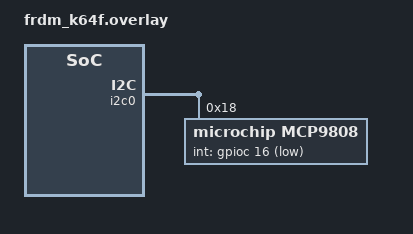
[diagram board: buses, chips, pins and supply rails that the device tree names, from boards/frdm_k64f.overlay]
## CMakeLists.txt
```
# SPDX-License-Identifier: Apache-2.0

cmake_minimum_required(VERSION 3.13.1)
find_package(Zephyr REQUIRED HINTS $ENV{ZEPHYR_BASE})
project(mcp9808)

FILE(GLOB app_sources src/*.c)
target_sources(app PRIVATE ${app_sources})
```

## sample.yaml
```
sample:
  name: MCP9808 Temperature Sensor
tests:
  sample.sensor.mcp9808:
    harness: sensor
    tags: sensors
    depends_on: i2c
    filter: dt_compat_enabled("microchip,mcp9808")
    platform_allow: nucleo_l053r8
    integration_platforms:
      - nucleo_l053r8
```

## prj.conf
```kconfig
CONFIG_STDOUT_CONSOLE=y
CONFIG_I2C=y
CONFIG_GPIO=y
CONFIG_SENSOR=y
CONFIG_MCP9808=y
#CONFIG_MCP9808_TRIGGER_NONE=y
CONFIG_MCP9808_TRIGGER_OWN_THREAD=y
#CONFIG_MCP9808_TRIGGER_GLOBAL_THREAD=y
CONFIG_CBPRINTF_FP_SUPPORT=y
```

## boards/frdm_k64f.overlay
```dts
/*
 * Copyright (c) 2019, Linaro Ltd.
 *
 * SPDX-License-Identifier: Apache-2.0
 */

&i2c0 {
	mcp9808@18 {
		compatible = "microchip,mcp9808";
		reg = <0x18>;
		int-gpios = <&gpioc 16 (GPIO_PULL_UP | GPIO_ACTIVE_LOW)>;
		label = "MCP9808";
	};
};
```

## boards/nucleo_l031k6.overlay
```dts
/*
 * Copyright (c) 2020, Steven Daglish <s.c.daglish@gmail.com>
 *
 * SPDX-License-Identifier: Apache-2.0
 */

&i2c1 {
	mcp9808@18 {
		compatible = "microchip,mcp9808";
		reg = <0x18>;
		int-gpios = <&gpiob 4 (GPIO_PULL_UP | GPIO_ACTIVE_LOW)>;
		resolution = <3>;
		label = "MCP9808";
	};
};
```

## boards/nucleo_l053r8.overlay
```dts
/*
 * Copyright (c) 2021, Steven Daglish <s.c.daglish@gmail.com>
 *
 * SPDX-License-Identifier: Apache-2.0
 */

&i2c1 {
	mcp9808@18 {
		compatible = "microchip,mcp9808";
		reg = <0x18>;
		int-gpios = <&gpioa 8 (GPIO_PULL_UP | GPIO_ACTIVE_LOW)>;
		label = "MCP9808";
		resolution = <3>;
	};
};
```

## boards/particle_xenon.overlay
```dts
/*
 * Copyright (c) 2019, Linaro Ltd.
 *
 * SPDX-License-Identifier: Apache-2.0
 */

&i2c0 {
	mcp9808@18 {
		compatible = "microchip,mcp9808";
		reg = <0x18>;
		int-gpios = <&gpio1 1 (GPIO_PULL_UP | GPIO_ACTIVE_LOW)>;
		label = "MCP9808";
	};
};
```

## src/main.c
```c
/*
 * Copyright (c) 2019 Peter Bigot Consulting, LLC
 * Copyright (c) 2016 Intel Corporation.
 *
 * SPDX-License-Identifier: Apache-2.0
 */

#include <zephyr.h>
#include <device.h>
#include <drivers/sensor.h>
#include <stdio.h>

#define UCEL_PER_CEL 1000000
#define UCEL_PER_MCEL 1000
#define TEMP_INITIAL_CEL 25
#define TEMP_WINDOW_HALF_UCEL 500000

static const char *now_str(void)
{
	static char buf[16]; /* ...HH:MM:SS.MMM */
	uint32_t now = k_uptime_get_32();
	unsigned int ms = now % MSEC_PER_SEC;
	unsigned int s;
	unsigned int min;
	unsigned int h;

	now /= MSEC_PER_SEC;
	s = now % 60U;
	now /= 60U;
	min = now % 60U;
	now /= 60U;
	h = now;

	snprintf(buf, sizeof(buf), "%u:%02u:%02u.%03u",
		 h, min, s, ms);
	return buf;
}

#ifdef CONFIG_MCP9808_TRIGGER

static struct sensor_trigger trig;

static int set_window(const struct device *dev,
		      const struct sensor_value *temp)
{
	const int temp_ucel = temp->val1 * UCEL_PER_CEL + temp->val2;
	const int low_ucel = temp_ucel - TEMP_WINDOW_HALF_UCEL;
	const int high_ucel = temp_ucel + TEMP_WINDOW_HALF_UCEL;
	struct sensor_value val = {
		.val1 = low_ucel / UCEL_PER_CEL,
		.val2 = low_ucel % UCEL_PER_CEL,
	};
	int rc = sensor_attr_set(dev, SENSOR_CHAN_AMBIENT_TEMP,
				 SENSOR_ATTR_LOWER_THRESH, &val);
	if (rc == 0) {
		val.val1 = high_ucel / UCEL_PER_CEL,
		val.val2 = high_ucel % UCEL_PER_CEL,
		rc = sensor_attr_set(dev, SENSOR_CHAN_AMBIENT_TEMP,
				     SENSOR_ATTR_UPPER_THRESH, &val);
	}

	if (rc == 0) {
		printf("Alert on temp outside [%d, %d] milli-Celsius\n",
		       low_ucel / UCEL_PER_MCEL,
		       high_ucel / UCEL_PER_MCEL);
	}

	return rc;
}

static inline int set_window_ucel(const struct device *dev,
				  int temp_ucel)
{
	struct sensor_value val = {
		.val1 = temp_ucel / UCEL_PER_CEL,
		.val2 = temp_ucel % UCEL_PER_CEL,
	};

	return set_window(dev, &val);
}

static void trigger_handler(const struct device *dev,
			    struct sensor_trigger *trig)
{
	struct sensor_value temp;
	static size_t cnt;
	int rc;

	++cnt;
	rc = sensor_sample_fetch(dev);
	if (rc != 0) {
		printf("sensor_sample_fetch error: %d\n", rc);
		return;
	}
	rc = sensor_channel_get(dev, SENSOR_CHAN_AMBIENT_TEMP, &temp);
	if (rc != 0) {
		printf("sensor_channel_get error: %d\n", rc);
		return;
	}

	printf("trigger fired %u, temp %g deg C\n", cnt,
	       sensor_value_to_double(&temp));
	set_window(dev, &temp);
}
#endif

void main(void)
{
	const struct device *dev = DEVICE_DT_GET_ANY(microchip_mcp9808);
	int rc;

	if (dev == NULL) {
		printf("Device not found.\n");
		return;
	}
	if (!device_is_ready(dev)) {
		printf("Device %s is not ready.\n", dev->name);
		return;
	}

#ifdef CONFIG_MCP9808_TRIGGER
	rc = set_window_ucel(dev, TEMP_INITIAL_CEL * UCEL_PER_CEL);
	if (rc == 0) {
		trig.type = SENSOR_TRIG_THRESHOLD;
		trig.chan = SENSOR_CHAN_AMBIENT_TEMP;
		rc = sensor_trigger_set(dev, &trig, trigger_handler);
	}

	if (rc != 0) {
		printf("Trigger set failed: %d\n", rc);
		return;
	}
	printk("Trigger set got %d\n", rc);
#endif

	while (1) {
		struct sensor_value temp;

		rc = sensor_sample_fetch(dev);
		if (rc != 0) {
			printf("sensor_sample_fetch error: %d\n", rc);
			break;
		}

		rc = sensor_channel_get(dev, SENSOR_CHAN_AMBIENT_TEMP, &temp);
		if (rc != 0) {
			printf("sensor_channel_get error: %d\n", rc);
			break;
		}

		printf("%s: %g C\n", now_str(),
		       sensor_value_to_double(&temp));

		k_sleep(K_SECONDS(2));
	}
}
```
